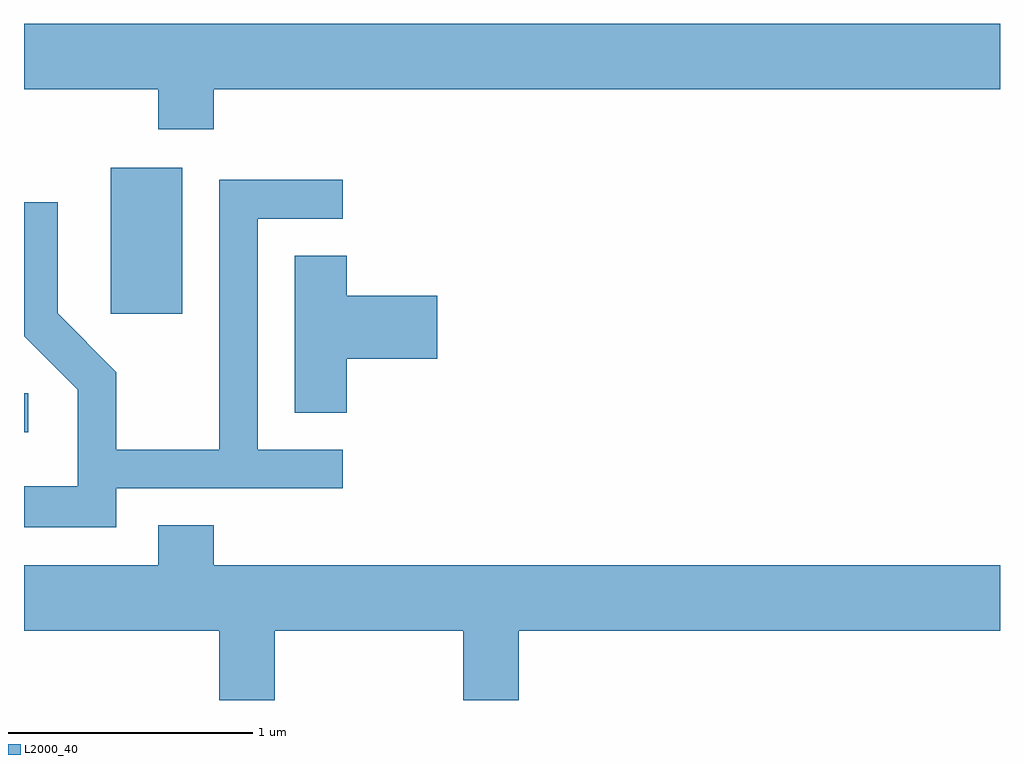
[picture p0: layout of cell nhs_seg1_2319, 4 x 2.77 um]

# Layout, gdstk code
import gdstk
lib = gdstk.Library(unit=1e-6, precision=1e-09)
def R(c, l, rs):  # rectangles x0, y0, x1, y1
    for r in rs: c.add(gdstk.rectangle(r[:2], r[2:], *l))
def P(c, l, *ps):  # polygons
    for p in ps: c.add(gdstk.Polygon(p, *l))
L2000_40 = (2000, 40)

nhs_seg1_2319 = lib.new_cell('nhs_seg1_2319')
R(nhs_seg1_2319, L2000_40, [(255.611,924.811,255.628,924.969), (255.966,925.296,256.259,925.894)])
P(nhs_seg1_2319, L2000_40, [(255.611,926.216),(256.161,926.216),(256.161,926.051),(256.389,926.051),(256.389,926.216),(259.611,926.216),(259.611,926.484),(255.611,926.484)],
  [(255.989,924.581),(256.918,924.581),(256.918,924.739),(256.569,924.739),(256.569,925.686),(256.918,925.686),(256.918,925.844),(256.411,925.844),(256.411,924.739),(255.989,924.739),(255.989,925.057),(255.749,925.297),(255.749,925.753),(255.611,925.753),(255.611,925.204),(255.831,924.984),(255.831,924.589),(255.611,924.589),(255.611,924.421),(255.989,924.421)],
  [(256.934,925.111),(257.304,925.111),(257.304,925.369),(256.934,925.369),(256.934,925.534),(256.721,925.534),(256.721,924.891),(256.934,924.891)],
  [(256.639,923.996),(257.411,923.996),(257.411,923.712),(257.639,923.712),(257.639,923.996),(259.611,923.996),(259.611,924.264),(256.389,924.264),(256.389,924.429),(256.161,924.429),(256.161,924.264),(255.611,924.264),(255.611,923.996),(256.411,923.996),(256.411,923.712),(256.639,923.712)])

lib.write_gds('nhs_seg1_2319.gds')
